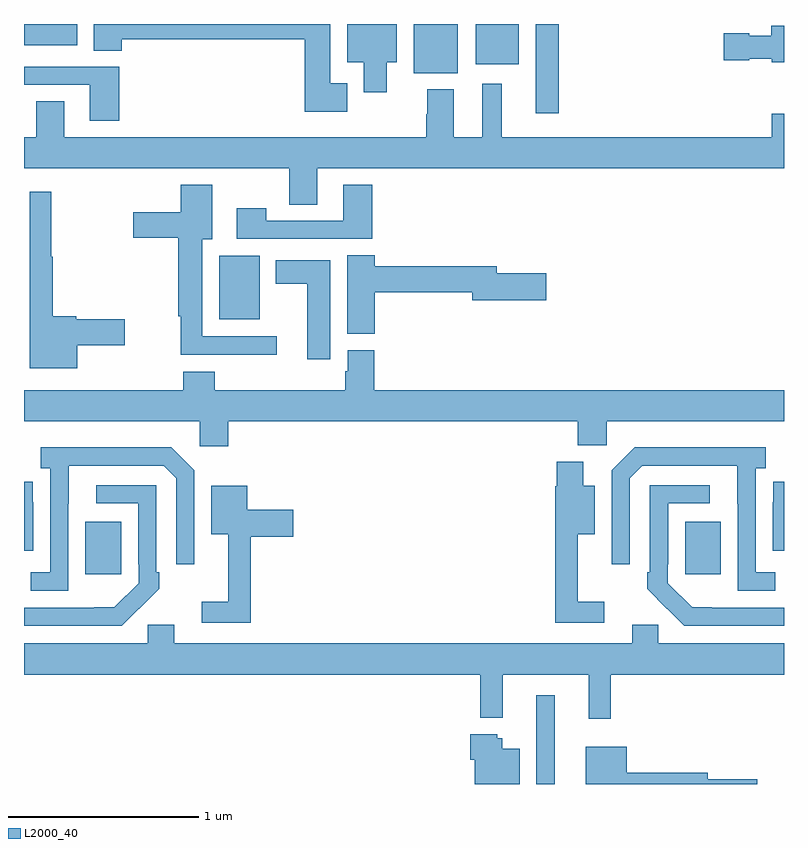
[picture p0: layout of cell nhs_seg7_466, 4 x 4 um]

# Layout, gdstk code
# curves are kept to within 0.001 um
import gdstk
lib = gdstk.Library(unit=1e-6, precision=1e-09)
def R(c, l, rs):  # rectangles x0, y0, x1, y1
    for r in rs: c.add(gdstk.rectangle(r[:2], r[2:], *l))
def P(c, l, *ps):  # polygons
    for p in ps: c.add(gdstk.Polygon(p, *l))
L2000_40 = (2000, 40)

nhs_seg7_466 = lib.new_cell('nhs_seg7_466')
R(nhs_seg7_466, L2000_40, [(149.697,1040,149.794,1040.467), (147.323,1041.105,147.511,1041.379), (150.479,1041.105,150.667,1041.379), (148.028,1042.445,148.24,1042.78), (149.693,1043.529,149.815,1044), (149.051,1043.741,149.284,1044), (149.378,1043.789,149.605,1044), (147,1043.888,147.28,1044)])
P(nhs_seg7_466, L2000_40, [(148.702,1043.689),(148.612,1043.689),(148.612,1044),(147.368,1044),(147.368,1043.86),(147.515,1043.86),(147.515,1043.92),(148.478,1043.92),(148.478,1043.537),(148.702,1043.537)],
  [(148.909,1043.798),(148.963,1043.798),(148.963,1044),(148.7,1044),(148.7,1043.798),(148.787,1043.798),(148.787,1043.64),(148.909,1043.64)],
  [(151,1043.992),(150.932,1043.992),(150.932,1043.938),(150.816,1043.938),(150.816,1043.951),(150.684,1043.951),(150.684,1043.809),(150.816,1043.809),(150.816,1043.816),(150.936,1043.816),(150.936,1043.798),(151,1043.798)],
  [(147.5,1043.775),(147,1043.775),(147,1043.679),(147.347,1043.679),(147.347,1043.49),(147.5,1043.49)],
  [(151,1043.528),(150.935,1043.528),(150.935,1043.404),(149.515,1043.404),(149.515,1043.686),(149.411,1043.686),(149.411,1043.404),(149.263,1043.404),(149.263,1043.656),(149.123,1043.656),(149.123,1043.525),(149.116,1043.525),(149.116,1043.404),(147.211,1043.404),(147.211,1043.594),(147.064,1043.594),(147.064,1043.404),(147,1043.404),(147,1043.24),(148.396,1043.24),(148.396,1043.05),(148.543,1043.05),(148.543,1043.24),(151,1043.24)],
  [(148.832,1043.155),(148.679,1043.155),(148.679,1042.965),(148.275,1042.965),(148.275,1043.029),(148.119,1043.029),(148.119,1042.869),(148.832,1042.869)],
  [(148.33,1042.356),(147.937,1042.356),(147.937,1042.868),(147.991,1042.868),(147.991,1043.155),(147.824,1043.155),(147.824,1043.008),(147.576,1043.008),(147.576,1042.874),(147.812,1042.874),(147.812,1042.463),(147.824,1042.463),(147.824,1042.259),(148.33,1042.259)],
  [(147.28,1042.31),(147.529,1042.31),(147.529,1042.445),(147.276,1042.445),(147.276,1042.463),(147.151,1042.463),(147.151,1042.775),(147.143,1042.775),(147.143,1043.116),(147.029,1043.116),(147.029,1042.187),(147.28,1042.187)],
  [(148.847,1042.588),(149.36,1042.588),(149.36,1042.546),(149.749,1042.546),(149.749,1042.688),(149.488,1042.688),(149.488,1042.724),(148.847,1042.724),(148.847,1042.784),(148.7,1042.784),(148.7,1042.369),(148.847,1042.369)],
  [(148.612,1042.756),(148.325,1042.756),(148.325,1042.634),(148.49,1042.634),(148.49,1042.236),(148.612,1042.236)],
  [(148.076,1041.908),(149.915,1041.908),(149.915,1041.782),(150.066,1041.782),(150.066,1041.908),(151,1041.908),(151,1042.072),(148.844,1042.072),(148.844,1042.284),(148.703,1042.284),(148.703,1042.173),(148.691,1042.173),(148.691,1042.072),(148.004,1042.072),(148.004,1042.171),(147.839,1042.171),(147.839,1042.072),(147,1042.072),(147,1041.908),(147.924,1041.908),(147.924,1041.777),(148.076,1041.777)],
  [(147.234,1041.475),(147.235,1041.675),(147.735,1041.675),(147.801,1041.609),(147.801,1041.156),(147.897,1041.156),(147.897,1041.651),(147.776,1041.772),(147.087,1041.772),(147.087,1041.662),(147.138,1041.662),(147.138,1041.114),(147.036,1041.114),(147.036,1041.018),(147.234,1041.018)],
  [(150.955,1041.114),(150.852,1041.114),(150.852,1041.662),(150.904,1041.662),(150.904,1041.772),(150.214,1041.772),(150.093,1041.651),(150.093,1041.156),(150.189,1041.156),(150.189,1041.609),(150.255,1041.675),(150.755,1041.675),(150.756,1041.018),(150.955,1041.018)],
  [(150.055,1040.959),(149.915,1040.959),(149.915,1041.314),(150.004,1041.314),(150.004,1041.571),(149.944,1041.571),(149.944,1041.697),(149.804,1041.697),(149.804,1041.567),(149.797,1041.567),(149.797,1040.85),(150.055,1040.85)],
  [(151,1041.591),(150.943,1041.591),(150.943,1041.482),(150.942,1041.482),(150.942,1041.228),(151,1041.228)],
  [(147.048,1041.482),(147.047,1041.482),(147.047,1041.591),(147,1041.591),(147,1041.228),(147.048,1041.228)],
  [(147.605,1040.923),(147.606,1040.922),(147.711,1041.027),(147.711,1041.115),(147.696,1041.115),(147.696,1041.573),(147.381,1041.573),(147.381,1041.477),(147.6,1041.477),(147.6,1041.157),(147.603,1041.157),(147.603,1041.057),(147.475,1040.929),(147,1040.928),(147,1040.832),(147.514,1040.832)],
  [(151,1040.928),(150.516,1040.929),(150.387,1041.057),(150.387,1041.157),(150.39,1041.157),(150.39,1041.477),(150.61,1041.477),(150.61,1041.573),(150.294,1041.573),(150.294,1041.115),(150.279,1041.115),(150.279,1041.027),(150.476,1040.832),(151,1040.832)],
  [(148.193,1041.302),(148.417,1041.302),(148.417,1041.444),(148.174,1041.444),(148.174,1041.571),(147.986,1041.571),(147.986,1041.314),(148.076,1041.314),(148.076,1040.959),(147.936,1040.959),(147.936,1040.85),(148.193,1040.85)],
  [(150.089,1040.576),(151,1040.576),(151,1040.74),(150.339,1040.74),(150.339,1040.838),(150.2,1040.838),(150.2,1040.74),(147.79,1040.74),(147.79,1040.838),(147.651,1040.838),(147.651,1040.74),(147,1040.74),(147,1040.576),(149.401,1040.576),(149.401,1040.348),(149.519,1040.348),(149.519,1040.576),(149.972,1040.576),(149.972,1040.343),(150.089,1040.343)],
  [(149.608,1040.185),(149.518,1040.185),(149.518,1040.241),(149.49,1040.241),(149.49,1040.263),(149.348,1040.263),(149.348,1040.127),(149.372,1040.127),(149.372,1040),(149.608,1040)],
  [(150.859,1040.024),(150.598,1040.024),(150.598,1040.06),(150.172,1040.06),(150.172,1040.197),(149.957,1040.197),(149.957,1040),(150.859,1040)])

lib.write_gds('nhs_seg7_466.gds')
